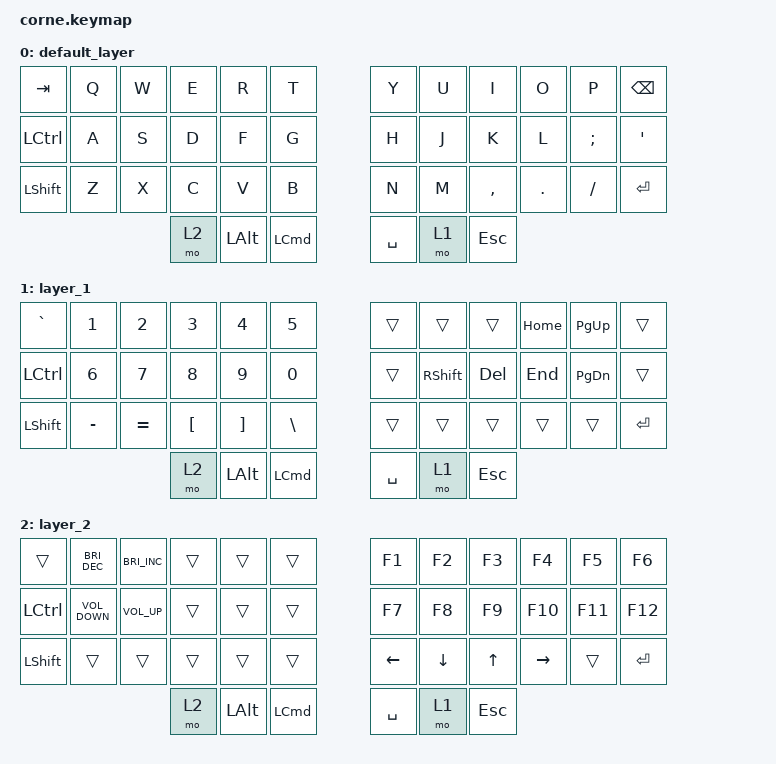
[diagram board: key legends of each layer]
#include <behaviors.dtsi>
#include <dt-bindings/zmk/keys.h>

#define DEFAULT 0
#define LAYER1  1
#define LAYER2  2
#define LAYER3  3
#define LAYER4  4

/ {
    behaviors {
        td_mt: tap_dance_mod_tap {
            compatible = "zmk,behavior-tap-dance";
            #binding-cells = <0>;
            tapping-term-ms = <100>;
            bindings = <&kp LGUI>, <&kp LALT>;
        };
    };

    combos { compatible = "zmk,combos"; };

    keymap {
        compatible = "zmk,keymap";

        default_layer {
            bindings = <
&kp TAB    &kp Q  &kp W  &kp E  &kp R         &kp T               &kp Y      &kp U  &kp I       &kp O    &kp P     &kp BSPC
&kp LCTRL  &kp A  &kp S  &kp D  &kp F         &kp G               &kp H      &kp J  &kp K       &kp L    &kp SEMI  &kp SQT
&kp LSHFT  &kp Z  &kp X  &kp C  &kp V         &kp B               &kp N      &kp M  &kp COMMA   &kp DOT  &kp FSLH  &kp ENTER
                         &mo 2  &kp LEFT_ALT  &kp LEFT_COMMAND    &kp SPACE  &mo 1  &kp ESCAPE
            >;
        };

        layer_1 {
            bindings = <
&kp GRAVE       &kp NUMBER_1  &kp NUMBER_2  &kp NUMBER_3      &kp NUMBER_4       &kp NUMBER_5        &trans     &trans           &trans      &kp HOME  &kp PAGE_UP    &trans
&kp LCTRL       &kp NUMBER_6  &kp NUMBER_7  &kp NUMBER_8      &kp NUMBER_9       &kp NUMBER_0        &trans     &kp RIGHT_SHIFT  &kp DELETE  &kp END   &kp PAGE_DOWN  &trans
&kp LEFT_SHIFT  &kp MINUS     &kp EQUAL     &kp LEFT_BRACKET  &kp RIGHT_BRACKET  &kp BACKSLASH       &trans     &trans           &trans      &trans    &trans         &kp ENTER
                                            &mo 2             &kp LEFT_ALT       &kp LEFT_COMMAND    &kp SPACE  &mo 1            &kp ESCAPE
            >;
        };

        layer_2 {
            bindings = <
&trans            &kp C_BRIGHTNESS_DEC  &kp C_BRIGHTNESS_INC  &trans  &trans        &trans              &kp F1     &kp F2    &kp F3      &kp F4     &kp F5   &kp F6
&kp LEFT_CONTROL  &kp C_VOLUME_DOWN     &kp C_VOLUME_UP       &trans  &trans        &trans              &kp F7     &kp F8    &kp F9      &kp F10    &kp F11  &kp F12
&kp LEFT_SHIFT    &trans                &trans                &trans  &trans        &trans              &kp LEFT   &kp DOWN  &kp UP      &kp RIGHT  &trans   &kp ENTER
                                                              &mo 2   &kp LEFT_ALT  &kp LEFT_COMMAND    &kp SPACE  &mo 1     &kp ESCAPE
            >;
        };
    };
};
